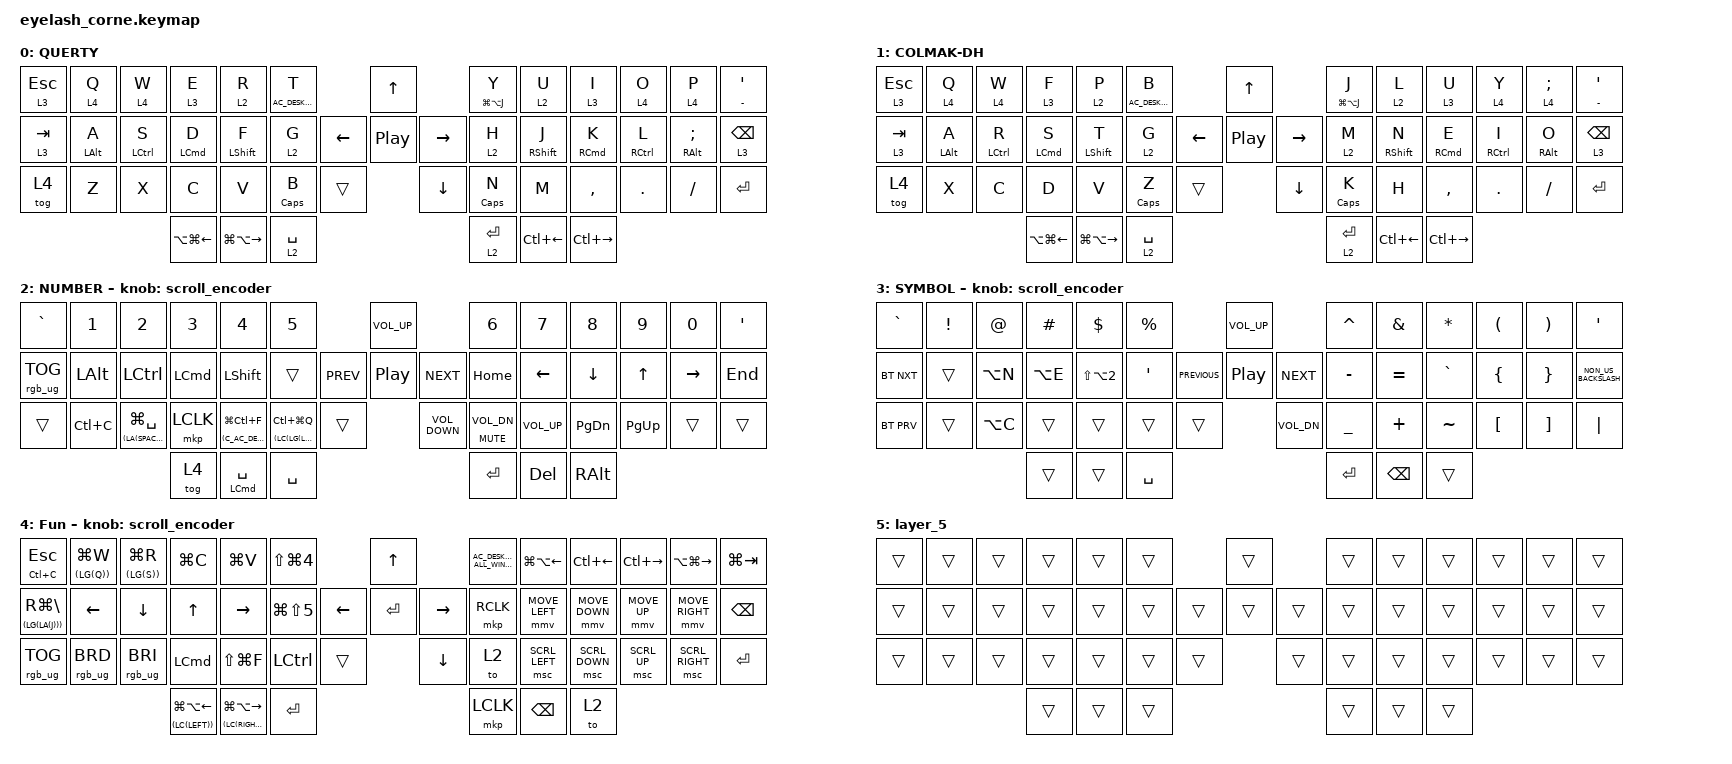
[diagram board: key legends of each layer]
define ZMK_POINTING_DEFAULT_MOVE_VAL 1200  // 600
#define ZMK_POINTING_DEFAULT_SCRL_VAL 25   // 10

#include <input/processors.dtsi>
#include <zephyr/dt-bindings/input/input-event-codes.h>
#include <behaviors.dtsi>
#include <dt-bindings/zmk/bt.h>
#include <dt-bindings/zmk/keys.h>
#include <dt-bindings/zmk/pointing.h>
#include <dt-bindings/zmk/rgb.h>

&mmv_input_listener { input-processors = <&zip_xy_scaler 2 1>; };

&msc_input_listener { input-processors = <&zip_scroll_scaler 2 1>; };

&msc {
    acceleration-exponent = <1>;      // 0
    time-to-max-speed-ms = <100>;       // 300
    delay-ms = <0>;                   // 0
};

&mmv {
    time-to-max-speed-ms = <500>;
    acceleration-exponent = <1>;
    trigger-period-ms = <16>;
};

&lt {
    tapping-term-ms = <250>;
    quick-tap-ms = <200>;
};

/ {
    behaviors {
        td0: td0 {
            compatible = "zmk,behavior-tap-dance";
            display-name = "Shift/Caps Lock Tap Dance";
            #binding-cells = <0>;
            bindings = <&kp LEFT_SHIFT>, <&kp CAPS>;
        };

        ht: ht {
            compatible = "zmk,behavior-hold-tap";
            label = "HT";
            bindings = <&kp>, <&kp>;

            #binding-cells = <2>;
            tapping-term-ms = <250>;
            quick-tap-ms = <200>;
            flavor = "balanced";
        };
    };

    rgb_encoder: rgb_encoder {
        compatible = "zmk,behavior-sensor-rotate";
        #sensor-binding-cells = <0>;
        bindings = <&rgb_ug RGB_BRI>, <&rgb_ug RGB_BRD>;
    };

    scroll_encoder: scroll_encoder {
        compatible = "zmk,behavior-sensor-rotate";
        #sensor-binding-cells = <0>;
        bindings = <&msc SCRL_DOWN>, <&msc SCRL_UP>;

        tap-ms = <100>;
    };

    macros {
        console_bararamas: new_macro {
            compatible = "zmk,behavior-macro";
            #binding-cells = <0>;
            bindings =
                <&none &kp>,
                <&macro_press>,
                <&kp C &kp O &kp N &kp S &kp O &kp L &kp E &kp DOT &kp L &kp O &kp G &kp LPAR &kp SQT &kp B &kp A &kp R &kp A &kp R &kp A &kp M &kp A &kp S &kp SQT &kp COMMA &kp SPACE &kp SQT &kp SQT &kp RPAR>,
                <&macro_press>;

            label = "NEW_MACRO";
        };

        fun_rgb: fun_rgb {
            compatible = "zmk,behavior-macro";
            #binding-cells = <0>;
            bindings = <&tog 4 &rgb_ug RGB_COLOR_HSB(0,87,49)>;
            label = "FUN_RGB";
        };

        rgb_colmak: rgb_colmak {
            compatible = "zmk,behavior-macro";
            #binding-cells = <0>;
            bindings = <&to 2 &rgb_ug RGB_COLOR_HSB(253,97,52)>;
            label = "RGB_COLMAK";
        };

        rgb_num: rgb_num {
            compatible = "zmk,behavior-macro";
            #binding-cells = <0>;
            bindings = <&to 2 &rgb_ug RGB_COLOR_HSB(57,93,50)>;
            label = "RGB_NUM";
        };
    };

    keymap {
        compatible = "zmk,keymap";

        QWERTY {
            label = "QUERTY";
            bindings = <
&lt 3 ESCAPE  &lt 4 Q         &lt 4 W             &lt 3 E             &lt 2 R            &ht C_AC_DESKTOP_SHOW_ALL_WINDOWS T                      &kp UP                       &ht LG(LA(J)) Y  &lt 2 U            &lt 3 I              &lt 4 O              &lt 4 P                  &ht MINUS APOS
&lt 3 TAB     &ht LEFT_ALT A  &ht LEFT_CONTROL S  &ht LEFT_COMMAND D  &ht LSHIFT F       &lt 2 G                                        &kp LEFT  &kp C_PLAY_PAUSE  &kp RIGHT  &lt 2 H          &ht RIGHT_SHIFT J  &ht RIGHT_COMMAND K  &ht RIGHT_CONTROL L  &ht RIGHT_ALT SEMICOLON  &lt 3 BACKSPACE
&tog 4        &kp Z           &kp X               &kp C               &kp V              &ht CAPS B                           &trans              &kp DOWN                     &ht CAPSLOCK N   &kp M              &kp COMMA            &kp DOT              &kp FSLH                 &kp ENTER
                                                  &kp LA(LG(LEFT))    &kp LG(LA(RIGHT))  &lt 2 SPACE                                                                           &lt 2 ENTER      &kp LC(LEFT)       &kp LC(RIGHT)
            >;
        };

        COLMAK-DH {
            bindings = <
&lt 3 ESCAPE  &lt 4 Q         &lt 4 W             &lt 3 F             &lt 2 P            &ht C_AC_DESKTOP_SHOW_ALL_WINDOWS B                      &kp UP                       &ht LG(LA(J)) J  &lt 2 L            &lt 3 U              &lt 4 Y              &lt 4 SEMICOLON  &ht MINUS APOS
&lt 3 TAB     &ht LEFT_ALT A  &ht LEFT_CONTROL R  &ht LEFT_COMMAND S  &ht LSHIFT T       &lt 2 G                                        &kp LEFT  &kp C_PLAY_PAUSE  &kp RIGHT  &lt 2 M          &ht RIGHT_SHIFT N  &ht RIGHT_COMMAND E  &ht RIGHT_CONTROL I  &ht RIGHT_ALT O  &lt 3 BACKSPACE
&tog 4        &kp X           &kp C               &kp D               &kp V              &ht CAPS Z                           &trans              &kp DOWN                     &ht CAPSLOCK K   &kp H              &kp COMMA            &kp DOT              &kp FSLH         &kp ENTER
                                                  &kp LA(LG(LEFT))    &kp LG(LA(RIGHT))  &lt 2 SPACE                                                                           &lt 2 ENTER      &kp LC(LEFT)       &kp LC(RIGHT)
            >;

            label = "COLMAK-DH";
        };

        NUMBERS {
            display-name = "NUMBER";
            bindings = <
&kp GRAVE        &kp N1        &kp N2                     &kp N3            &kp N4                                         &kp N5                                                     &kp C_VOLUME_UP                &kp N6               &kp N7           &kp N8          &kp N9        &kp N0           &kp SINGLE_QUOTE
&rgb_ug RGB_TOG  &kp LEFT_ALT  &kp LEFT_CONTROL           &kp LEFT_COMMAND  &kp LEFT_SHIFT                                 &trans                                         &kp C_PREV  &kp C_PLAY_PAUSE   &kp C_NEXT  &kp HOME             &kp LEFT_ARROW   &kp DOWN_ARROW  &kp UP_ARROW  &kp RIGHT_ARROW  &kp END
&trans           &kp LC(C)     &mt (LA(SPACE)) LG(SPACE)  &mkp LCLK         &mt (C_AC_DESKTOP_SHOW_ALL_WINDOWS) LG(LC(F))  &mt (LC(LG(LA(K_EJECT)))) LC(LG(Q))  &trans                &kp C_VOLUME_DOWN              &mt K_MUTE C_VOL_DN  &kp C_VOLUME_UP  &kp PAGE_DOWN   &kp PAGE_UP   &trans           &trans
                                                          &tog 4            &mt LEFT_COMMAND SPACE                         &kp SPACE                                                                                 &kp ENTER            &kp DEL          &kp RIGHT_ALT
            >;

            sensor-bindings = <&scroll_encoder>;
        };

        SYMBOLS {
            display-name = "SYMBOL";
            bindings = <
&kp GRAVE   &kp EXCL  &kp AT     &kp HASH   &kp DLLR              &kp PRCNT                            &kp C_VOLUME_UP               &kp CARET  &kp AMPS       &kp ASTRK  &kp LPAR          &kp RPAR           &kp SQT
&bt BT_NXT  &trans    &kp LA(N)  &kp LA(E)  &kp LS(LA(NUMBER_2))  &kp SQT              &kp C_PREVIOUS  &kp C_PLAY_PAUSE  &kp C_NEXT  &kp MINUS  &kp EQUAL      &kp GRAVE  &kp LEFT_BRACE    &kp RIGHT_BRACE    &kp NON_US_BACKSLASH
&bt BT_PRV  &trans    &kp LA(C)  &trans     &trans                &trans     &trans                    &kp C_VOL_DN                  &kp UNDER  &kp PLUS       &kp TILDE  &kp LEFT_BRACKET  &kp RIGHT_BRACKET  &kp PIPE
                                 &trans     &trans                &kp SPACE                                                          &kp RET    &kp BACKSPACE  &trans
            >;

            sensor-bindings = <&scroll_encoder>;
        };

        Fun {
            display-name = "Fun";
            bindings = <
&ht LC(C) ESCAPE               &ht (LG(Q)) LG(W)  &ht (LG(S)) LG(R)  &kp LG(C)                    &kp LG(V)                            &kp LS(LG(NUMBER_4))                      &kp UP                &kp C_AC_DESKTOP_SHOW_ALL_WINDOWS  &kp LG(LA(LEFT))  &kp LC(LEFT)    &kp LC(RIGHT)  &kp LA(LG(RIGHT))  &kp LG(TAB)
&ht (LG(LA(J))) RG(BACKSLASH)  &kp LEFT           &kp DOWN_ARROW     &kp UP_ARROW                 &kp RIGHT                            &kp LG(LS(N5))                  &kp LEFT  &kp ENTER  &kp RIGHT  &mkp RCLK                          &mmv MOVE_LEFT    &mmv MOVE_DOWN  &mmv MOVE_UP   &mmv MOVE_RIGHT    &kp BACKSPACE
&rgb_ug RGB_TOG                &rgb_ug RGB_BRD    &rgb_ug RGB_BRI    &kp LEFT_COMMAND             &kp LS(LG(F))                        &kp LEFT_CONTROL      &trans              &kp DOWN              &to 2                              &msc SCRL_LEFT    &msc SCRL_DOWN  &msc SCRL_UP   &msc SCRL_RIGHT    &kp ENTER
                                                                     &ht (LC(LEFT)) LG(LA(LEFT))  &ht (LC(RIGHT_ARROW)) LG(LA(RIGHT))  &kp ENTER                                                       &mkp LCLK                          &kp BACKSPACE     &to 2
            >;

            sensor-bindings = <&scroll_encoder>;
        };

        layer_5 {
            bindings = <
&trans  &trans  &trans  &trans  &trans  &trans                    &trans          &trans  &trans  &trans  &trans  &trans  &trans
&trans  &trans  &trans  &trans  &trans  &trans            &trans  &trans  &trans  &trans  &trans  &trans  &trans  &trans  &trans
&trans  &trans  &trans  &trans  &trans  &trans  &trans            &trans          &trans  &trans  &trans  &trans  &trans  &trans
                        &trans  &trans  &trans                                    &trans  &trans  &trans
            >;
        };
    };
};
